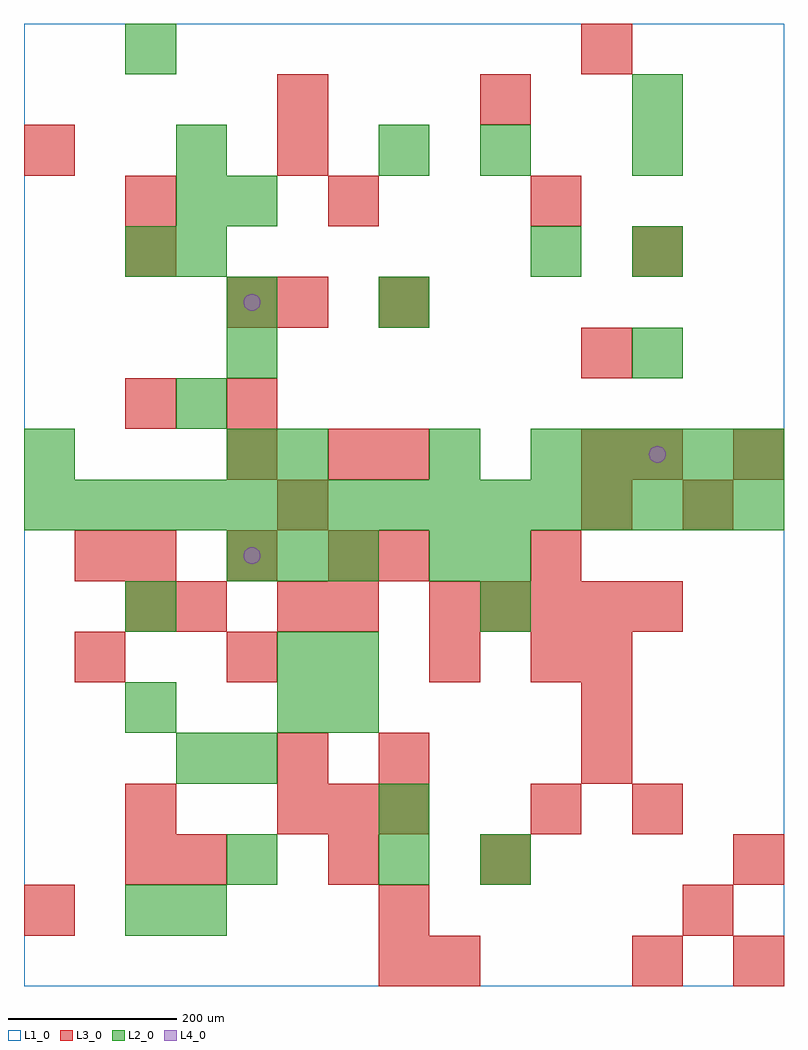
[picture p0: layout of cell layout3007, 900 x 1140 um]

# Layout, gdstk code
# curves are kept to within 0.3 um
import gdstk
lib = gdstk.Library(unit=1e-6, precision=1e-09)
def R(c, l, rs):  # rectangles x0, y0, x1, y1
    for r in rs: c.add(gdstk.rectangle(r[:2], r[2:], *l))
def A(c, l, x, y, w, h, nx, ny, dx, dy):  # array of equal rectangles
    R(c, l, [(x+i*dx, y+j*dy, x+i*dx+w, y+j*dy+h) for i in range(nx) for j in range(ny)])
def P(c, l, *ps):  # polygons
    for p in ps: c.add(gdstk.Polygon(p, *l))
L1_0 = (1, 0)
L2_0 = (2, 0)
L3_0 = (3, 0)
L4_0 = (4, 0)

layout3007 = lib.new_cell('layout3007')
R(layout3007, L1_0, [(0,0,900,1140)])
A(layout3007, L2_0, 240, 480, 60, 60, 3, 1, 60, 0)
A(layout3007, L2_0, 0, 540, 60, 60, 15, 1, 60, 0)
A(layout3007, L2_0, 600, 600, 60, 60, 5, 1, 60, 0)
A(layout3007, L2_0, 720, 720, 60, 60, 1, 3, 0, 120)
A(layout3007, L2_0, 180, 840, 60, 60, 1, 3, 0, 60)
R(layout3007, L2_0, [(120,60,180,120), (180,60,240,120), (240,120,300,180), (420,120,480,180), (540,120,600,180), (420,180,480,240), (180,240,240,300), (240,240,300,300), (120,300,180,360), (300,300,360,360), (360,300,420,360), (300,360,360,420), (360,360,420,420), (120,420,180,480), (540,420,600,480), (480,480,540,540), (540,480,600,540), (0,600,60,660), (240,600,300,660), (300,600,360,660), (480,600,540,660), (180,660,240,720), (240,720,300,780), (240,780,300,840), (420,780,480,840), (120,840,180,900), (600,840,660,900), (240,900,300,960), (420,960,480,1020), (540,960,600,1020), (720,1020,780,1080), (120,1080,180,1140)])
A(layout3007, L3_0, 180, 120, 60, 60, 3, 1, 180, 0)
A(layout3007, L3_0, 120, 180, 60, 60, 1, 3, 0, 240)
A(layout3007, L3_0, 300, 180, 60, 60, 3, 1, 60, 0)
A(layout3007, L3_0, 660, 240, 60, 60, 1, 3, 0, 60)
A(layout3007, L3_0, 480, 420, 60, 60, 5, 1, 60, 0)
A(layout3007, L3_0, 120, 480, 60, 60, 3, 1, 120, 0)
A(layout3007, L3_0, 120, 900, 60, 60, 3, 1, 240, 0)
R(layout3007, L3_0, [(420,0,480,60), (480,0,540,60), (720,0,780,60), (840,0,900,60), (0,60,60,120), (420,60,480,120), (780,60,840,120), (120,120,180,180), (840,120,900,180), (600,180,660,240), (720,180,780,240), (300,240,360,300), (420,240,480,300), (60,360,120,420), (240,360,300,420), (480,360,540,420), (600,360,660,420), (180,420,240,480), (300,420,360,480), (360,420,420,480), (60,480,120,540), (420,480,480,540), (600,480,660,540), (300,540,360,600), (660,540,720,600), (780,540,840,600), (240,600,300,660), (360,600,420,660), (420,600,480,660), (660,600,720,660), (720,600,780,660), (840,600,900,660), (240,660,300,720), (660,720,720,780), (240,780,300,840), (300,780,360,840), (420,780,480,840), (120,840,180,900), (720,840,780,900), (0,960,60,1020), (300,960,360,1020), (300,1020,360,1080), (540,1020,600,1080), (660,1080,720,1140)])
P(layout3007, L4_0, [(280,510),(279.239,513.827),(277.071,517.071),(273.827,519.239),(270,520),(266.173,519.239),(262.929,517.071),(260.761,513.827),(260,510),(260.761,506.173),(262.929,502.929),(266.173,500.761),(270,500),(273.827,500.761),(277.071,502.929),(279.239,506.173)],
  [(280,810),(279.239,813.827),(277.071,817.071),(273.827,819.239),(270,820),(266.173,819.239),(262.929,817.071),(260.761,813.827),(260,810),(260.761,806.173),(262.929,802.929),(266.173,800.761),(270,800),(273.827,800.761),(277.071,802.929),(279.239,806.173)],
  [(760,630),(759.239,633.827),(757.071,637.071),(753.827,639.239),(750,640),(746.173,639.239),(742.929,637.071),(740.761,633.827),(740,630),(740.761,626.173),(742.929,622.929),(746.173,620.761),(750,620),(753.827,620.761),(757.071,622.929),(759.239,626.173)])

lib.write_gds('layout3007.gds')
